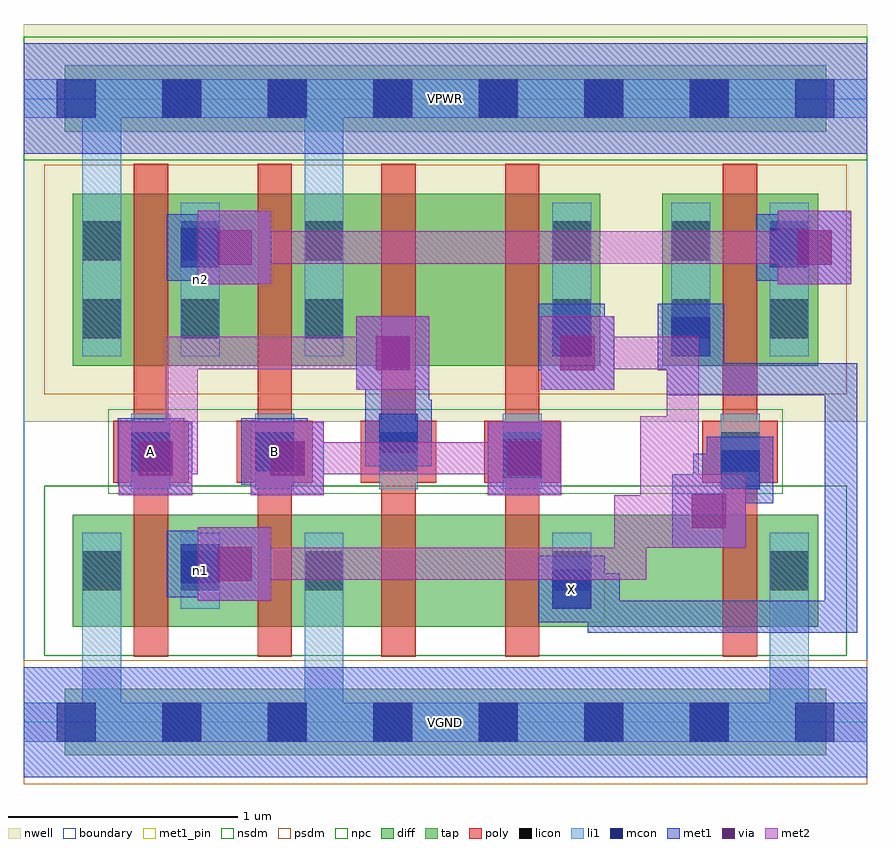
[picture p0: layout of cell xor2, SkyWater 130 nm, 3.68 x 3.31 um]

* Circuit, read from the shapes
.subckt xor2 A B VGND VPWR X n1 n2
XM1 n1 A VGND VGND sky130_fd_pr__nfet_01v8 w=0.49 l=0.15
XM2 VGND B n1 VGND sky130_fd_pr__nfet_01v8 w=0.49 l=0.15
XM3 n3 A VGND VGND sky130_fd_pr__nfet_01v8 w=0.49 l=0.15
XM4 X B n3 VGND sky130_fd_pr__nfet_01v8 w=0.49 l=0.15
XM5 VGND n1 X VGND sky130_fd_pr__nfet_01v8 w=0.49 l=0.15
XM6 n2 A VPWR VPWR sky130_fd_pr__pfet_01v8 w=0.75 l=0.15
XM7 VPWR B n2 VPWR sky130_fd_pr__pfet_01v8 w=0.75 l=0.15
XM8 n4 A VPWR VPWR sky130_fd_pr__pfet_01v8 w=0.75 l=0.15
XM9 n1 B n4 VPWR sky130_fd_pr__pfet_01v8 w=0.75 l=0.15
XM10 n2 n1 X VPWR sky130_fd_pr__pfet_01v8 w=0.75 l=0.15
.ends

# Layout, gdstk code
import gdstk
lib = gdstk.Library(unit=1e-6, precision=1e-09)
def R(c, l, rs):  # rectangles x0, y0, x1, y1
    for r in rs: c.add(gdstk.rectangle(r[:2], r[2:], *l))
def A(c, l, x, y, w, h, nx, ny, dx, dy):  # array of equal rectangles
    R(c, l, [(x+i*dx, y+j*dy, x+i*dx+w, y+j*dy+h) for i in range(nx) for j in range(ny)])
nwell = (64, 20)
diff = (65, 20)
tap = (65, 44)
poly = (66, 20)
licon = (66, 44)
li1 = (67, 20)
mcon = (67, 44)
met1_pin = (68, 16)
met1 = (68, 20)
via = (68, 44)
met2 = (69, 20)
nsdm = (93, 44)
psdm = (94, 20)
npc = (95, 20)
boundary = (235, 4)

xor2 = lib.new_cell('xor2')
R(xor2, nwell, [(0,1.31,3.68,3.045)])
R(xor2, diff, [(0.215,0.415,3.465,0.905), (0.215,1.555,2.515,2.305), (2.785,1.555,3.465,2.305)])
R(xor2, tap, [(0.18,-0.145,3.5,0.145), (0.18,2.575,3.5,2.865)])
A(xor2, poly, 0.48, 0.285, 0.15, 2.15, 4, 1, 0.54, 0)
A(xor2, poly, 0.39, 1.045, 0.33, 0.27, 4, 1, 0.54, 0)
R(xor2, poly, [(3.05,0.285,3.2,2.435), (2.96,1.045,3.29,1.315)])
A(xor2, licon, 0.605, -0.085, 0.17, 0.17, 6, 2, 0.46, 2.72)
A(xor2, licon, 0.47, 1.095, 0.17, 0.17, 4, 1, 0.54, 0)
R(xor2, licon, [(0.255,0.575,0.425,0.745), (0.685,0.575,0.855,0.745), (1.225,0.575,1.395,0.745), (2.305,0.575,2.475,0.745), (3.255,0.575,3.425,0.745), (3.04,1.095,3.21,1.265), (0.255,1.675,0.425,1.845), (0.685,1.675,0.855,1.845), (1.225,1.675,1.395,1.845), (2.305,1.675,2.475,1.845), (2.825,1.675,2.995,1.845), (3.255,1.675,3.425,1.845), (0.255,2.015,0.425,2.185), (0.685,2.015,0.855,2.185), (1.225,2.015,1.395,2.185), (2.305,2.015,2.475,2.185), (2.825,2.015,2.995,2.185), (3.255,2.015,3.425,2.185)])
A(xor2, li1, 0.47, 1.015, 0.17, 0.33, 4, 1, 0.54, 0)
R(xor2, li1, [(0,-0.085,3.68,0.085), (0.255,-0.085,0.425,0.825), (1.225,-0.085,1.395,0.825), (3.255,-0.085,3.425,0.825), (0.255,0.495,0.425,0.825), (0.685,0.495,0.855,0.825), (1.225,0.495,1.395,0.825), (2.305,0.495,2.475,0.825), (3.255,0.495,3.425,0.825), (3.04,1.015,3.21,1.345), (0.255,1.595,0.425,2.265), (0.255,1.595,0.425,2.805), (0.685,1.595,0.855,2.265), (1.225,1.595,1.395,2.265), (1.225,1.595,1.395,2.805), (2.305,1.595,2.475,2.265), (2.825,1.595,2.995,2.265), (3.255,1.595,3.425,2.265), (0,2.635,3.68,2.805)])
A(xor2, mcon, 0.145, -0.085, 0.17, 0.17, 8, 2, 0.46, 2.72)
R(xor2, mcon, [(2.305,0.495,2.475,0.665), (0.685,0.605,0.855,0.775), (3.04,1.015,3.21,1.185), (2.09,1.065,2.26,1.235), (0.47,1.095,0.64,1.265), (1.01,1.095,1.18,1.265), (1.55,1.175,1.72,1.345), (2.305,1.595,2.475,1.765), (2.825,1.595,2.995,1.765), (0.685,1.985,0.855,2.155), (3.255,1.985,3.425,2.155)])
R(xor2, met1_pin, [(0,-0.24,3.68,0.24), (2.245,0.435,2.535,0.725), (0.41,1.035,0.7,1.325), (0.95,1.035,1.24,1.325), (0,2.48,3.68,2.96)])
R(xor2, met1, [(0,-0.24,3.68,0.24), (2.46,0.39,2.6,0.65), (2.46,0.39,3.635,0.53), (3.495,0.39,3.635,1.565), (2.245,0.435,2.535,0.725), (2.32,0.51,2.6,0.65), (0.76,0.53,1.08,0.85), (0.625,0.545,0.915,0.835), (0.7,0.62,0.99,0.76), (2.83,0.76,3.15,1.08), (2.92,0.85,3.06,1.17), (2.98,0.955,3.27,1.245), (0.415,0.99,0.735,1.31), (0.99,0.99,1.31,1.31), (2.025,0.99,2.345,1.31), (2.03,1.005,2.32,1.295), (2.92,1.03,3.195,1.17), (0.41,1.035,0.7,1.325), (0.95,1.035,1.24,1.325), (0.505,1.08,0.645,1.22), (1.08,1.08,1.22,1.22), (2.105,1.08,2.255,1.22), (1.49,1.115,1.78,1.405), (1.54,1.19,1.705,1.33), (1.54,1.19,1.68,1.45), (1.54,1.31,1.68,1.68), (1.54,1.33,1.705,1.45), (1.49,1.405,1.77,1.45), (2.805,1.425,2.945,1.75), (2.805,1.425,3.635,1.565), (1.45,1.45,1.77,1.77), (2.255,1.45,2.575,1.77), (2.245,1.535,2.535,1.825), (2.765,1.535,3.055,1.825), (2.345,1.54,2.485,1.75), (2.32,1.61,2.485,1.75), (2.805,1.61,2.98,1.75), (0.76,1.91,1.08,2.23), (3.29,1.91,3.61,2.23), (0.625,1.925,0.915,2.215), (3.195,1.925,3.485,2.215), (0.7,2,0.99,2.14), (3.27,2,3.52,2.14), (0,2.48,3.68,2.96)])
R(xor2, via, [(0.845,0.615,0.995,0.765), (2.915,0.845,3.065,0.995), (0.5,1.075,0.65,1.225), (1.075,1.075,1.225,1.225), (2.11,1.075,2.26,1.225), (1.535,1.535,1.685,1.685), (2.34,1.535,2.49,1.685), (0.845,1.995,0.995,2.145), (3.375,1.995,3.525,2.145)])
R(xor2, met2, [(0.76,0.53,1.08,0.85), (0.85,0.62,2.715,0.76), (2.575,0.62,2.715,0.99), (2.715,0.76,2.83,0.99), (2.83,0.76,3.15,1.08), (2.575,0.85,3.06,0.99), (2.69,0.85,2.83,1.335), (0.415,0.99,0.735,1.31), (0.99,0.99,1.31,1.31), (2.025,0.99,2.345,1.31), (0.505,1.08,0.76,1.22), (0.62,1.08,0.76,1.68), (1.08,1.08,2.255,1.22), (2.83,1.08,2.945,1.195), (2.69,1.195,2.945,1.335), (2.805,1.195,2.945,1.68), (1.45,1.45,1.77,1.77), (2.255,1.45,2.575,1.77), (0.62,1.54,1.68,1.68), (2.345,1.54,2.945,1.68), (0.76,1.91,1.08,2.23), (3.29,1.91,3.61,2.23), (0.85,2,3.52,2.14)])
R(xor2, nsdm, [(0.09,0.29,3.59,1.03), (0,2.45,3.68,2.99)])
R(xor2, psdm, [(0,-0.27,3.68,0.27), (0.09,1.43,3.59,2.43)])
R(xor2, npc, [(0.37,0.995,3.31,1.365)])
R(xor2, boundary, [(0,0,3.68,2.72)])
xor2.add(gdstk.Label('n1', (0.77,0.66), layer=67, texttype=5))
xor2.add(gdstk.Label('n2', (0.77,1.93), layer=67, texttype=5))
xor2.add(gdstk.Label('A', (0.555,1.18), layer=68, texttype=5))
xor2.add(gdstk.Label('B', (1.095,1.18), layer=68, texttype=5))
xor2.add(gdstk.Label('X', (2.39,0.58), layer=68, texttype=5))
xor2.add(gdstk.Label('VPWR', (1.84,2.72), layer=68, texttype=5))
xor2.add(gdstk.Label('VGND', (1.84,0), layer=68, texttype=5))
xor2.add(gdstk.Label('A', (0.555,1.18), layer=68, texttype=16))
xor2.add(gdstk.Label('B', (1.095,1.18), layer=68, texttype=16))
xor2.add(gdstk.Label('X', (2.39,0.58), layer=68, texttype=16))
xor2.add(gdstk.Label('VPWR', (1.84,2.72), layer=68, texttype=16))
xor2.add(gdstk.Label('VGND', (1.84,0), layer=68, texttype=16))

lib.write_gds('xor2.gds')
